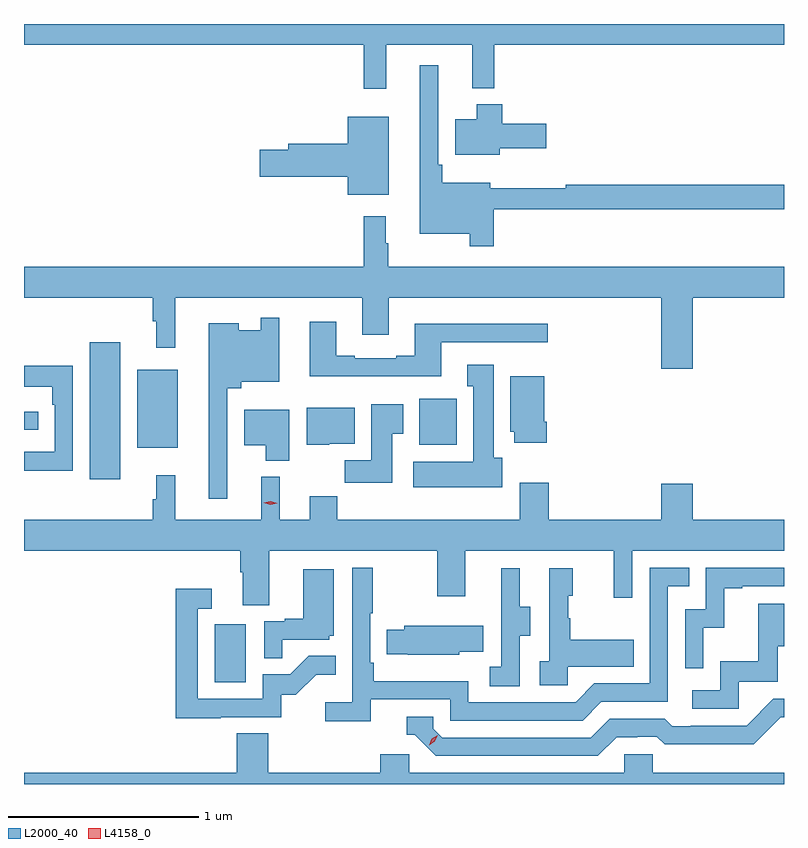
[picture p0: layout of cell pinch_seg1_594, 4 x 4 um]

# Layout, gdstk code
import gdstk
lib = gdstk.Library(unit=1e-6, precision=1e-09)
def R(c, l, rs):  # rectangles x0, y0, x1, y1
    for r in rs: c.add(gdstk.rectangle(r[:2], r[2:], *l))
def P(c, l, *ps):  # polygons
    for p in ps: c.add(gdstk.Polygon(p, *l))
L2000_40 = (2000, 40)
L4158_0 = (4158, 0)

pinch_seg1_594 = lib.new_cell('pinch_seg1_594')
R(pinch_seg1_594, L2000_40, [(1061.756,512.412,1061.92,512.719), (1061.099,513.48,1061.26,514.201), (1061.348,513.647,1061.563,514.057), (1062.833,513.662,1063.03,513.904), (1060.753,513.741,1060.828,513.837)])
P(pinch_seg1_594, L2000_40, [(1062.659,515.768),(1063.112,515.768),(1063.112,515.54),(1063.229,515.54),(1063.229,515.768),(1064.753,515.768),(1064.753,515.877),(1060.753,515.877),(1060.753,515.768),(1062.541,515.768),(1062.541,515.535),(1062.659,515.535)],
  [(1063.226,514.902),(1064.753,514.902),(1064.753,515.03),(1063.603,515.03),(1063.603,515.012),(1063.207,515.012),(1063.207,515.041),(1062.953,515.041),(1062.953,515.137),(1062.933,515.137),(1062.933,515.659),(1062.836,515.659),(1062.836,514.772),(1063.098,514.772),(1063.098,514.707),(1063.226,514.707)],
  [(1063.258,515.222),(1063.501,515.222),(1063.501,515.352),(1063.271,515.352),(1063.271,515.455),(1063.136,515.455),(1063.136,515.377),(1063.022,515.377),(1063.022,515.189),(1063.258,515.189)],
  [(1062.673,515.389),(1062.458,515.389),(1062.458,515.246),(1062.143,515.246),(1062.143,515.216),(1061.994,515.216),(1061.994,515.074),(1062.458,515.074),(1062.458,514.979),(1062.673,514.979)],
  [(1064.272,514.436),(1064.753,514.436),(1064.753,514.6),(1062.67,514.6),(1062.67,514.724),(1062.658,514.724),(1062.658,514.864),(1062.541,514.864),(1062.541,514.6),(1060.753,514.6),(1060.753,514.436),(1061.431,514.436),(1061.431,514.313),(1061.45,514.313),(1061.45,514.173),(1061.548,514.173),(1061.548,514.436),(1062.533,514.436),(1062.533,514.242),(1062.673,514.242),(1062.673,514.436),(1064.108,514.436),(1064.108,514.062),(1064.272,514.062)],
  [(1061.823,513.959),(1061.897,513.959),(1061.897,513.995),(1062.096,513.995),(1062.096,514.33),(1062,514.33),(1062,514.264),(1061.884,514.264),(1061.884,514.303),(1061.726,514.303),(1061.726,513.378),(1061.823,513.378)],
  [(1062.949,514.203),(1063.51,514.203),(1063.51,514.3),(1062.809,514.3),(1062.809,514.132),(1062.713,514.132),(1062.713,514.119),(1062.493,514.119),(1062.493,514.132),(1062.397,514.132),(1062.397,514.309),(1062.257,514.309),(1062.257,514.022),(1062.949,514.022)],
  [(1063.27,513.594),(1063.225,513.594),(1063.225,514.084),(1063.085,514.084),(1063.085,513.971),(1063.118,513.971),(1063.118,513.574),(1062.801,513.574),(1062.801,513.44),(1063.27,513.44)],
  [(1061.01,514.078),(1060.753,514.078),(1060.753,513.968),(1060.901,513.968),(1060.901,513.872),(1060.914,513.872),(1060.914,513.627),(1060.753,513.627),(1060.753,513.526),(1061.01,513.526)],
  [(1063.505,513.784),(1063.492,513.784),(1063.492,514.024),(1063.313,514.024),(1063.313,513.732),(1063.334,513.732),(1063.334,513.672),(1063.505,513.672)],
  [(1062.691,513.721),(1062.748,513.721),(1062.748,513.877),(1062.581,513.877),(1062.581,513.58),(1062.442,513.58),(1062.442,513.462),(1062.691,513.462)],
  [(1062.36,513.668),(1062.493,513.668),(1062.493,513.856),(1062.242,513.856),(1062.242,513.662),(1062.36,513.662)],
  [(1062.148,513.847),(1061.912,513.847),(1061.912,513.659),(1062.026,513.659),(1062.026,513.578),(1062.148,513.578)],
  [(1062.043,513.104),(1062.928,513.104),(1062.928,512.865),(1063.075,512.865),(1063.075,513.104),(1063.856,513.104),(1063.856,512.856),(1063.953,512.856),(1063.953,513.104),(1064.753,513.104),(1064.753,513.268),(1064.272,513.268),(1064.272,513.457),(1064.108,513.457),(1064.108,513.268),(1063.514,513.268),(1063.514,513.463),(1063.361,513.463),(1063.361,513.268),(1062.401,513.268),(1062.401,513.392),(1062.257,513.392),(1062.257,513.268),(1062.1,513.268),(1062.1,513.493),(1062.002,513.493),(1062.002,513.268),(1061.549,513.268),(1061.549,513.502),(1061.45,513.502),(1061.45,513.377),(1061.431,513.377),(1061.431,513.268),(1060.753,513.268),(1060.753,513.104),(1061.891,513.104),(1061.891,512.992),(1061.903,512.992),(1061.903,512.818),(1062.043,512.818)],
  [(1062.578,512.322),(1062.996,512.322),(1062.996,512.211),(1063.693,512.211),(1063.792,512.31),(1064.142,512.31),(1064.142,512.919),(1064.255,512.919),(1064.255,513.015),(1064.046,513.015),(1064.046,512.406),(1063.755,512.406),(1063.656,512.307),(1063.092,512.307),(1063.092,512.419),(1062.593,512.419),(1062.593,512.515),(1062.576,512.515),(1062.576,512.776),(1062.589,512.776),(1062.589,513.016),(1062.48,513.016),(1062.48,512.308),(1062.339,512.308),(1062.339,512.206),(1062.578,512.206)],
  [(1064.328,512.699),(1064.438,512.699),(1064.438,512.907),(1064.533,512.907),(1064.533,512.919),(1064.753,512.919),(1064.753,513.015),(1064.34,513.015),(1064.34,512.796),(1064.232,512.796),(1064.232,512.487),(1064.328,512.487)],
  [(1063.362,512.656),(1063.417,512.656),(1063.417,512.811),(1063.363,512.811),(1063.363,513.013),(1063.265,513.013),(1063.265,512.799),(1063.266,512.799),(1063.266,512.495),(1063.203,512.495),(1063.203,512.392),(1063.362,512.392)],
  [(1063.614,512.495),(1063.961,512.495),(1063.961,512.635),(1063.627,512.635),(1063.627,512.75),(1063.617,512.75),(1063.617,512.868),(1063.642,512.868),(1063.642,513.013),(1063.518,513.013),(1063.518,512.522),(1063.467,512.522),(1063.467,512.397),(1063.614,512.397)],
  [(1062.113,512.637),(1062.36,512.637),(1062.36,512.658),(1062.382,512.658),(1062.382,513.007),(1062.224,513.007),(1062.224,512.746),(1062.125,512.746),(1062.125,512.733),(1062.018,512.733),(1062.018,512.539),(1062.113,512.539)],
  [(1061.789,512.229),(1062.108,512.229),(1062.108,512.346),(1062.184,512.346),(1062.291,512.453),(1062.395,512.453),(1062.395,512.552),(1062.251,512.552),(1062.153,512.454),(1062.009,512.454),(1062.009,512.325),(1061.667,512.325),(1061.667,512.799),(1061.74,512.799),(1061.74,512.905),(1061.551,512.905),(1061.551,512.224),(1061.789,512.224)],
  [(1064.514,512.415),(1064.719,512.415),(1064.719,512.601),(1064.753,512.601),(1064.753,512.827),(1064.617,512.827),(1064.617,512.524),(1064.418,512.524),(1064.418,512.37),(1064.271,512.37),(1064.271,512.274),(1064.514,512.274)],
  [(1063.044,512.573),(1063.169,512.573),(1063.169,512.71),(1062.755,512.71),(1062.755,512.688),(1062.661,512.688),(1062.661,512.559),(1062.772,512.559),(1062.772,512.558),(1063.044,512.558)],
  [(1063.873,512.124),(1063.98,512.124),(1063.98,512.127),(1064.083,512.127),(1064.125,512.085),(1064.358,512.085),(1064.358,512.087),(1064.594,512.087),(1064.736,512.229),(1064.753,512.229),(1064.753,512.325),(1064.697,512.325),(1064.556,512.184),(1064.263,512.184),(1064.263,512.181),(1064.164,512.181),(1064.125,512.22),(1063.836,512.22),(1063.737,512.121),(1062.954,512.121),(1062.906,512.169),(1062.906,512.232),(1062.767,512.232),(1062.767,512.136),(1062.81,512.136),(1062.921,512.025),(1063.774,512.025)],
  [(1064.753,511.936),(1064.061,511.936),(1064.061,512.034),(1063.911,512.034),(1063.911,511.936),(1062.78,511.936),(1062.78,512.034),(1062.629,512.034),(1062.629,511.936),(1062.038,511.936),(1062.038,512.144),(1061.873,512.144),(1061.873,511.936),(1060.753,511.936),(1060.753,511.877),(1064.753,511.877)])
P(pinch_seg1_594, L4158_0, [(1062.885,512.081),(1062.885,512.081),(1062.9,512.114),(1062.931,512.134),(1062.931,512.134),(1062.931,512.134),(1062.916,512.101),(1062.885,512.081)],
  [(1062.05,513.346),(1062.014,513.356),(1062.014,513.356),(1062.014,513.356),(1062.051,513.366),(1062.086,513.355),(1062.087,513.355),(1062.086,513.355)])

lib.write_gds('pinch_seg1_594.gds')
